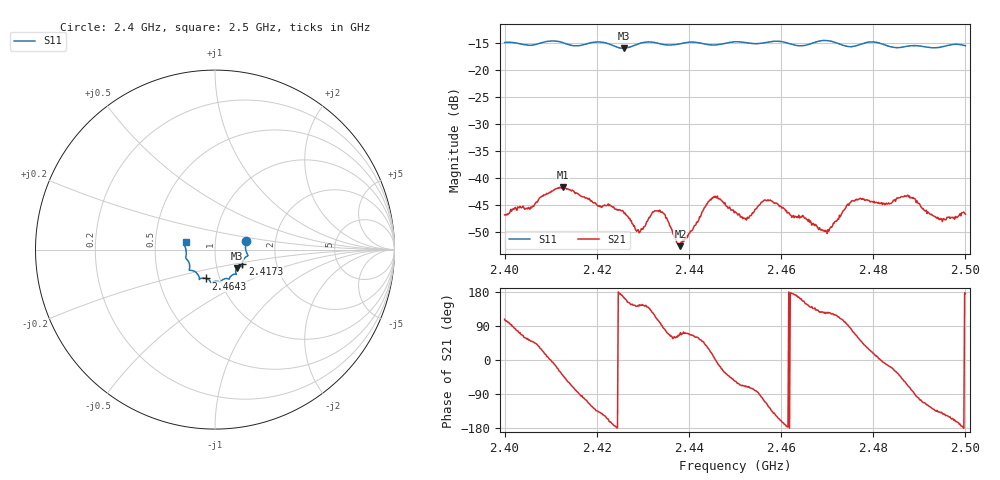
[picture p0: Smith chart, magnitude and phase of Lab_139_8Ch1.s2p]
# Hz S RI R 50
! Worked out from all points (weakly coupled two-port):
!   601 points, 2.4 GHz to 2.5 GHz, reference 50 ohm
!   highest |S21| = -41.65 dB at 2.4127 GHz (marker M1); lowest = -52.5 dB at 2.4382 GHz (marker M2)
!   lowest |S11| = -15.9 dB at 2.4258 GHz (marker M3), VSWR 1.38, Z = 62.3 - j13.2 ohm
!   |S11| at or under -10 dB: start of sweep to end of sweep
!   S12 and S22 are empty: the file has one direction only
!   S11 on the Smith chart (normalised r, x): 2.4 GHz: 1.41, +0.14; 2.4173 GHz: 1.34, -0.23; 2.4643 GHz: 0.86, -0.28; 2.5 GHz: 0.72, +0.06
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2.4e9  0.1734 0.0497  -0.00139 0.00438  0 0  0 0
2.405833e9  0.1702 0.00333  0.00345 0.00406  0 0  0 0
2.412667e9  0.1756 -0.0386  0.00623 -0.00543  0 0  0 0
2.416667e9  0.153 -0.0747  -0.000711 -0.00679  0 0  0 0
2.417333e9  0.1525 -0.0822  -0.00141 -0.00658  0 0  0 0
2.425833e9  0.1214 -0.1036  -0.00467 0.00129  0 0  0 0
2.429e9  0.1161 -0.1312  -0.00272 0.00195  0 0  0 0
2.433333e9  0.1127 -0.1367  -0.00126 0.00485  0 0  0 0
2.434667e9  0.1041 -0.1376  0.000645 0.00462  0 0  0 0
2.438167e9  0.0825 -0.1556  0.000715 0.00225  0 0  0 0
2.445167e9  0.0541 -0.1623  0.00639 0.00141  0 0  0 0
2.45e9  0.0295 -0.1809  0.00277 -0.00408  0 0  0 0
2.4525e9  0.0204 -0.1784  0.00144 -0.00386  0 0  0 0
2.457167e9  -0.0146 -0.1814  -0.00331 -0.00542  0 0  0 0
2.464333e9  -0.0503 -0.1606  -0.00422 0.00137  0 0  0 0
2.466667e9  -0.0764 -0.1598  -0.00287 0.00233  0 0  0 0
2.47e9  -0.0877 -0.1663  -0.00181 0.00251  0 0  0 0
2.476667e9  -0.1233 -0.1173  0.00326 0.0055  0 0  0 0
2.483333e9  -0.141 -0.0894  0.00571 -0.00162  0 0  0 0
2.487333e9  -0.1575 -0.0544  0.00292 -0.00626  0 0  0 0
2.4945e9  -0.1631 0.00447  -0.00317 -0.00284  0 0  0 0
2.5e9  -0.1633 0.0418  -0.00465 0.000382  0 0  0 0
